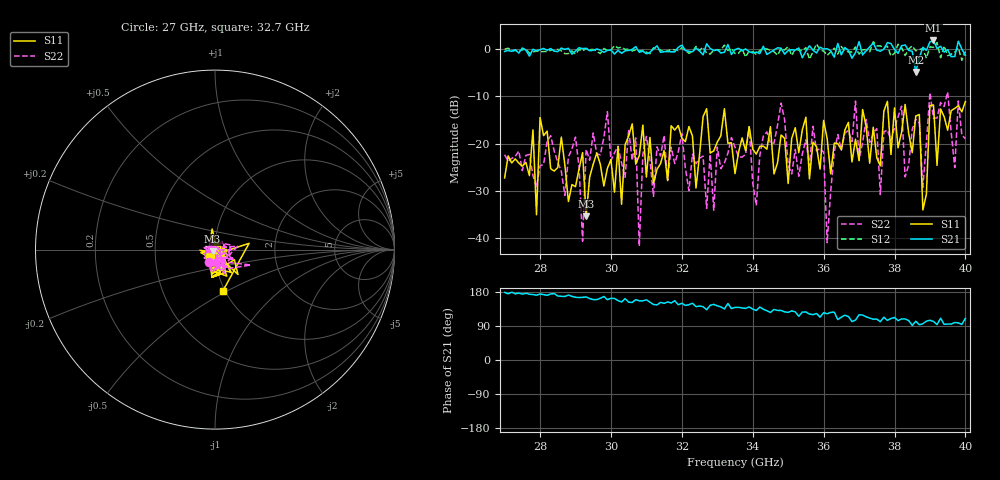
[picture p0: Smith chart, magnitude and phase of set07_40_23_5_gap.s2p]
! Quiescent point : V1=-1.60085E-02 I1=+1.30750E-03 V2=-2.21805E-02 I2=-1.29624E-03
! Pulsed point : V1=-1.66812E-02 I1=+1.30564E-03 V2=-2.15334E-02 I2=-1.25591E-03
! Period : +2.00000E-04
! Input Supply timing : delay=+1.60000E-06 width=+2.20000E-06
! Output Supply timing : delay=+1.70000E-06 width=+2.00000E-06
! VNA timing : delay=+2.40000E-06 width=+1.10000E-06
# Hz S RI R 50
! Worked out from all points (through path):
!   131 points, 27 GHz to 40 GHz, reference 50 ohm
!   highest |S21| = 1.89 dB at 39.1 GHz (marker M1); lowest = -4.8 dB at 38.6 GHz (marker M2)
!   group delay of S21, straight-line fit = 18.3 ps
!   lowest |S11| = -35.4 dB at 29.3 GHz (marker M3), VSWR 1.03, Z = 48.7 - j1.02 ohm
!   |S11| at or under -10 dB: start of sweep to end of sweep
!   |S22| runs from -41.8 to -9.1 dB; largest |S21 - S12| = 0.39
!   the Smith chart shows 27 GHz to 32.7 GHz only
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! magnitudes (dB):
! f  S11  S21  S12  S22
! 27 GHz  -27.3  -0.4  0.0  -22.4
! 27.8 GHz  -17.1  0.0  -0.6  -26.8
! 27.9 GHz  -35.1  -0.3  -0.4  -29.2
! 28 GHz  -14.5  -0.1  -0.5  -24.7
! 29 GHz  -29.1  -0.3  -1.0  -18.6
! 29.2 GHz  -21.9  0.2  -0.3  -40.7
! 29.3 GHz  -35.4  0.2  0.2  -21.2
! 30.7 GHz  -24.3  0.6  -0.1  -18.8
! 30.8 GHz  -22.5  -0.6  -0.4  -41.8
! 31 GHz  -27.1  -1.0  -0.6  -18.5
! 31.4 GHz  -24.2  -0.6  -0.2  -22.6
! 33.5 GHz  -26.4  -0.1  -0.9  -20.8
! 34.1 GHz  -22.2  -0.6  -1.1  -33.1
! 35.7 GHz  -19.7  -0.2  -0.5  -16.3
! 36.1 GHz  -19.0  0.1  -1.3  -41.0
! 36.9 GHz  -19.1  -0.7  0.5  -11.0
! 37.6 GHz  -24.7  -0.4  0.7  -30.8
! 37.9 GHz  -22.3  1.2  -1.4  -19.3
! 38.6 GHz  -14.1  -4.8  -0.3  -14.8
! 38.8 GHz  -34.1  0.4  0.1  -29.3
! 39.1 GHz  -11.8  1.9  0.4  -14.6
! 40 GHz  -11.1  -1.2  -0.5  -19.0
